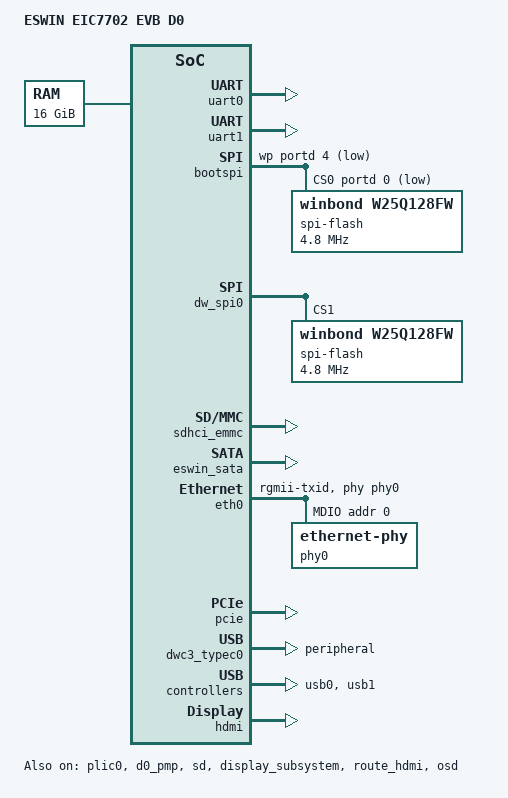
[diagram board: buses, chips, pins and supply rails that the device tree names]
// SPDX-License-Identifier: GPL-2.0
/*
 * Device Tree file for Eswin EIC7702 SoC only active die0.
 *
 * Copyright 2024, Beijing ESWIN Computing Technology Co., Ltd.. All rights reserved.
 * SPDX-License-Identifier: GPL-2.0
 *
 * This program is free software: you can redistribute it and/or modify
 * it under the terms of the GNU General Public License as published by
 * the Free Software Foundation, version 2.
 *
 * This program is distributed in the hope that it will be useful,
 * but WITHOUT ANY WARRANTY; without even the implied warranty of
 * MERCHANTABILITY or FITNESS FOR A PARTICULAR PURPOSE.  See the
 * GNU General Public License for more details.
 *
 * You should have received a copy of the GNU General Public License
 * along with this program.  If not, see <https://www.gnu.org/licenses/>.
 */

#include <dt-bindings/gpio/gpio.h>
#include <dt-bindings/soc/eswin-pmp.h>
#include "eic770x.dtsi"
#include "dt-bindings/media/eswin_mipi_dsi.h"
#include "media_bus_format.h"
/ {
	#address-cells = <2>;
	#size-cells = <2>;
	model = "ESWIN EIC7702 EVB D0";


	aliases {
		serial0 = &uart0;
		i2c0 = &i2c0;
		i2c1 = &i2c1;
		i2c2 = &i2c2;
		i2c3 = &i2c3;
		i2c4 = &i2c4;
		i2c5 = &i2c5;
		i2c6 = &i2c6;
		i2c7 = &i2c7;
		i2c8 = &i2c8;
		i2c9 = &i2c9;
		i2c11 = &i2c11;
		i2c12 = &i2c12;
		gpio0 = &gpio0;
		spi0 = &bootspi;
		spi1 = &dw_spi0;
	};

	chosen {
		stdout-path = "serial0";
	};

	memory@80000000 {
		device_type = "memory";
		reg = <0x0 0x80000000 0x4 0x00000000>;
	};
	reserved-memory {
		#address-cells = <2>;
		#size-cells = <2>;
		ranges;

		display_reserved: region@E0000000 {
			reg = <0x0 0xE0000000 0x0 0x2000000>;
			no-map;
		};

		lpcpu_reserved: lpcpures@DFFF0000 {
			reg = <0x00 0xDFFF0000 0x00 0x00010000>;
			no-map;
		};
	};
	soc {
		#address-cells = <2>;
		#size-cells = <2>;
		compatible = "SiFive,FU800-soc", "fu800-soc", "sifive-soc", "simple-bus";
		ranges;
	};
};
&cpu0 {
	status = "okay";
};
&cpu1 {
	status = "okay";
};
&cpu2 {
	status = "okay";
};
&cpu3 {
	status = "okay";
};
&plic0{
	status = "okay";
};
&d0_mbox {
	status = "okay";
};
&d0_mbox_srvc {
	status = "okay";
};
&d0_mbox1 {
	status = "okay";
};
&d0_mbox_srvc1 {
	status = "okay";
};
&d0_pmp {
	status = "okay";
};
&uart0 {
	status = "okay";
};
&uart1 {
	status = "okay";
};
&bootspi {
	status = "okay";
	cs-gpios = <&portd 0 GPIO_ACTIVE_LOW>;
	wp-gpios = <&portd 4 GPIO_ACTIVE_LOW>;
	spi-flash@0 {
		reg = <0>;
		compatible = "winbond,w25q128fw",
			"jedec,spi-nor";
		spi-max-frequency = <4800000>;
	};
};
&dw_spi0 {
	status = "okay";
	spi-flash@1 {
		reg = <1>;
		compatible = "winbond,w25q128fw",
			"jedec,spi-nor";
		spi-max-frequency = <4800000>;
	};
};
&sd {
	status = "okay";
	delay_code = <0x34>;
	drive-impedance-ohm = <33>;
	enable-cmd-pullup;
	enable-data-pullup;
};

&sdhci_emmc {
	status = "okay";
	delay_code = <0x3c>;
	drive-impedance-ohm = <50>;
	enable-cmd-pullup;
	enable-data-pullup;
	mmc-hs200-1_8v;
	mmc-hs400-1_8v;
};

&eswin_sata {
	status = "okay";
};

&eth0 {
	status = "okay";
	phy-mode = "rgmii-txid";
	max-speed = <1000>;
	phy-handle = <&phy0>;
	pinctrl-names = "default";
	pinctrl-0 = <&pinctrl_gpio15_default>;
	rst-gpios = <&porta 15 GPIO_ACTIVE_LOW>;
	dly-param-1000m = <0x23232323 0x5a0c6423 0x0c0c0c0c>;
	dly-param-100m = <0x50505050 0x803f8050 0x3f3f3f3f>;
	dly-param-10m = <0 0 0>;
	mdio0 {
		#address-cells = <1>;
		#size-cells = <0>;
		phy0: ethernet-phy@1 {
			reg = <0>;
		};
	};
};

&eth1 {
	status = "disabled";
	phy-mode = "rgmii-txid";
	max-speed = <1000>;
	phy-handle = <&phy1>;
	pinctrl-names = "default";
	pinctrl-0 = <&pinctrl_gpio14_default>;
	rst-gpios = <&porta 14 GPIO_ACTIVE_LOW>;
	dly-param-1000m = <0x25252525 0x5a266425 0x26262626>;
	dly-param-100m = <0x48484848 0x80588048 0x58585858>;
	dly-param-10m = <0 0 0>;
	mdio1 {
		#address-cells = <1>;
		#size-cells = <0>;
		phy1: ethernet-phy@1 {
			reg = <0>;
		};
	};
};

&pcie {
	status = "okay";
};
&display_logo {
	status = "disabled";
};
&mipi_dsi {
	status = "disabled";
	panel {
		#address-cells = <1>;
		#size-cells = <0>;
		compatible = "simple-panel-dsi";
		reg = <0>;
		dsi,format = <MIPI_DSI_FMT_RGB888>;
		bus-format = <MEDIA_BUS_FMT_RGB888_1X24>;
		dsi,lanes = <4>;
		status = "disabled";
		pinctrl-names = "default";
		pinctrl-0 = <&pinctrl_gpio27_default &pinctrl_gpio106_default>;
		backlight-gpios = <&porta 27 GPIO_ACTIVE_LOW>;
		rst-gpios = <&portd 10 GPIO_ACTIVE_LOW>;
		display-timings {
			native-mode = <&timing0>;
			timing0: timing0 {
				/*The fpga platform does not need to set the clock*/
				clock-frequency = <148500000>;
				hactive = <1080>;
				vactive = <1920>;
				hsync-len = <60>;
				hback-porch = <60>;
				hfront-porch = <60>;
				vsync-len = <8>;
				vback-porch = <8>;
				vfront-porch = <8>;
				hsync-active = <0>;
				vsync-active = <0>;
				pixelclk-active = <1>;
			};
		};
	};
};
&dwc3_typec0 {
		status = "okay";
		dr_mode = "peripheral";
		maximum-speed = "super-speed";
};
&usb0 {
	status = "okay";
	pinctrl-names = "default";
	pinctrl-0 = <&pinctrl_gpio42_default>;
	pwren-gpios = <&portb 10 GPIO_ACTIVE_LOW>;
};
&usb1 {
	status = "okay";
	pinctrl-names = "default";
	pinctrl-0 = <&pinctrl_gpio43_default>;
	pwren-gpios = <&portb 11 GPIO_ACTIVE_LOW>;
};
&hdmi {
	status = "okay";
};
&display_subsystem {
	status = "okay";
};
&route_hdmi {
	status = "okay";
};
&route_mipi {
	status = "disabled";
};
&osd {
	status = "okay";
};
&i2c0 {
	status = "disabled";
};
&i2c2 {
	status = "disabled";
};
&i2c3 {
	status = "disabled";
};
&i2c11 {
	status = "disabled";
};

/* GPIO Function Description

	gpio0   : pcie prstn(I)
	gpio11  : tmp alert(I)
	gpio13  : tf card detect(I)
	gpio14  : gphy1 resetn(O)
	gpio15  : gphy0 resetn(O)
	gpio18  : ina226 alert(I)
	gpio20  : lcd touch int(I)
	gpio21  : head phone plug/unplug detection2(I)
	gpio27  : black light pwr_en(O)
	gpio28  : head phone plug/unplug detection1(I)
	gpio68  : fan pwm(O)
	gpio69  : fan touch(I)
	gpio92  : frex gp0(O)
	gpio93  : frex gp1(O)
	gpio106 : mipi dsi resetn(O)
	gpio111 : lcd touch resetn(O)
*/

&gpio0 {
	status = "okay";
};

&pinctrl {
	status = "okay";
};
